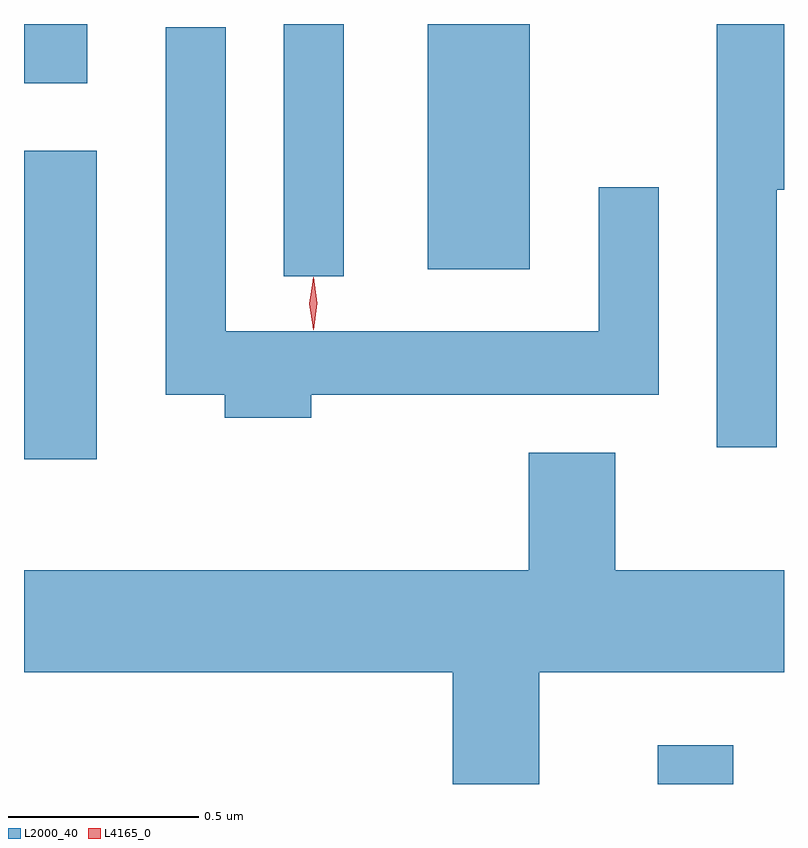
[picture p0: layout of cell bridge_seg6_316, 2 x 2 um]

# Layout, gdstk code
import gdstk
lib = gdstk.Library(unit=1e-6, precision=1e-09)
def R(c, l, rs):  # rectangles x0, y0, x1, y1
    for r in rs: c.add(gdstk.rectangle(r[:2], r[2:], *l))
def P(c, l, *ps):  # polygons
    for p in ps: c.add(gdstk.Polygon(p, *l))
L2000_40 = (2000, 40)
L4165_0 = (4165, 0)

bridge_seg6_316 = lib.new_cell('bridge_seg6_316')
R(bridge_seg6_316, L2000_40, [(1302.181,1547.522,1302.379,1547.624), (1300.513,1548.376,1300.704,1549.189), (1301.196,1548.858,1301.354,1549.522), (1301.576,1548.876,1301.844,1549.522), (1300.513,1549.366,1300.679,1549.522)])
P(bridge_seg6_316, L2000_40, [(1302.494,1549.086),(1302.513,1549.086),(1302.513,1549.522),(1302.336,1549.522),(1302.336,1548.408),(1302.494,1548.408)],
  [(1301.269,1548.546),(1302.184,1548.546),(1302.184,1549.093),(1302.026,1549.093),(1302.026,1548.714),(1301.044,1548.714),(1301.044,1549.513),(1300.886,1549.513),(1300.886,1548.546),(1301.041,1548.546),(1301.041,1548.486),(1301.269,1548.486)],
  [(1301.869,1547.816),(1302.513,1547.816),(1302.513,1548.084),(1302.069,1548.084),(1302.069,1548.394),(1301.841,1548.394),(1301.841,1548.084),(1300.513,1548.084),(1300.513,1547.816),(1301.641,1547.816),(1301.641,1547.522),(1301.869,1547.522)])
P(bridge_seg6_316, L4165_0, [(1301.274,1548.717),(1301.265,1548.787),(1301.274,1548.856),(1301.275,1548.856),(1301.275,1548.856),(1301.285,1548.787),(1301.275,1548.717),(1301.275,1548.717)],
  [(1301.274,1548.719),(1301.274,1548.72),(1301.264,1548.786),(1301.274,1548.852),(1301.274,1548.853),(1301.275,1548.852),(1301.284,1548.786),(1301.275,1548.72)])

lib.write_gds('bridge_seg6_316.gds')
